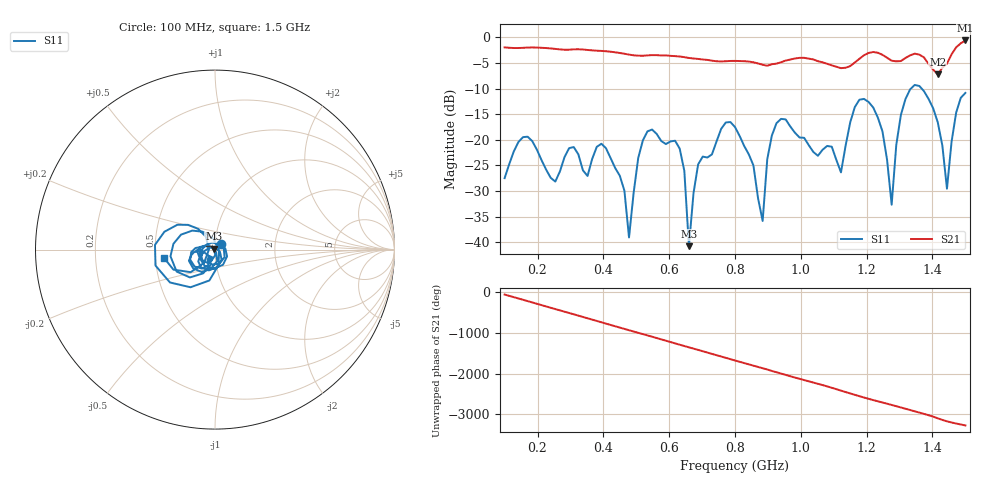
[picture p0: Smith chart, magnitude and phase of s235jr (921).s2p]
! NanoVNA-App
! Date: 2025-09-25 15:11:20
! Start: 100MHz Stop: 1,5GHz Points: 101
! S-Parameter data: F S11 S21 S12 S22
# Hz S RI R 50
!  Frequency  S11_Real  S11_Imag  S21_Real  S21_Imag  S12_Real  S12_Imag  S22_Real  S22_Imag
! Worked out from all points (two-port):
!   101 points, 100 MHz to 1.5 GHz, reference 50 ohm
!   highest |S21| = -0.61 dB at 1.5 GHz (marker M1); lowest = -7.2 dB at 1.416 GHz (marker M2)
!   |S21| within 3 dB of the highest: start of sweep to 603.3 MHz; 1.19 GHz to 1.253 GHz (63.25 MHz wide, 5.18 % of centre) (the widest 2 of 4)
!   lowest |S11| = -40.7 dB at 660 MHz (marker M3), VSWR 1.02, Z = 49.3 + j0.525 ohm
!   |S11| at or under -10 dB: start of sweep to 1.335 GHz; 1.367 GHz to end of sweep
!   S12 and S22 are empty: the file has one direction only
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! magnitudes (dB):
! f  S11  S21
! 100 MHz  -27.5  -2.0
! 156 MHz  -19.5  -2.0
! 338 MHz  -26.0  -2.4
! 408 MHz  -21.6  -2.7
! 478 MHz  -39.0  -3.4
! 520 MHz  -20.1  -3.6
! 576 MHz  -20.2  -3.5
! 632 MHz  -21.7  -3.7
! 660 MHz  -40.7  -4.0
! 688 MHz  -24.8  -4.2
! 800 MHz  -17.5  -4.6
! 884 MHz  -35.8  -5.3
! 926 MHz  -16.8  -5.1
! 1.038 GHz  -22.4  -4.3
! 1.122 GHz  -26.3  -6.0
! 1.192 GHz  -12.0  -3.5
! 1.248 GHz  -18.3  -3.4
! 1.276 GHz  -32.6  -4.6
! 1.332 GHz  -10.2  -3.5
! 1.416 GHz  -16.6  -7.2
! 1.444 GHz  -29.5  -5.1
! 1.5 GHz  -10.8  -0.6
